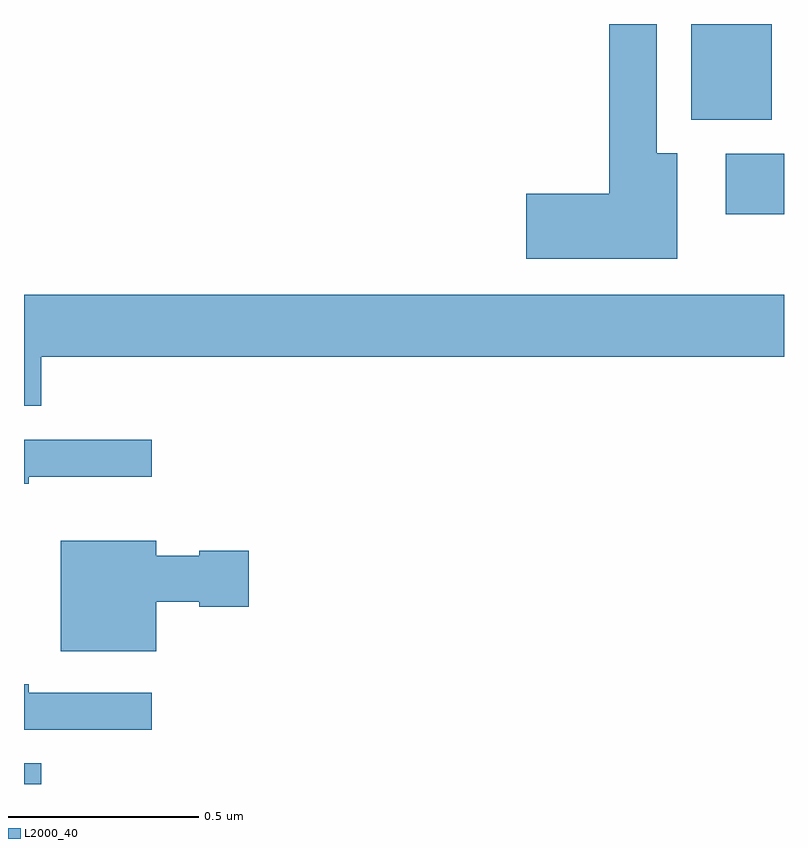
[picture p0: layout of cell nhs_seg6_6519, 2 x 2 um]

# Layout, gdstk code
import gdstk
lib = gdstk.Library(unit=1e-6, precision=1e-09)
def R(c, l, rs):  # rectangles x0, y0, x1, y1
    for r in rs: c.add(gdstk.rectangle(r[:2], r[2:], *l))
def P(c, l, *ps):  # polygons
    for p in ps: c.add(gdstk.Polygon(p, *l))
L2000_40 = (2000, 40)

nhs_seg6_6519 = lib.new_cell('nhs_seg6_6519')
R(nhs_seg6_6519, L2000_40, [(196,991.5,196.046,991.554), (197.847,993,198,993.159), (197.756,993.248,197.968,993.5)])
P(nhs_seg6_6519, L2000_40, [(197.719,993.16),(197.665,993.16),(197.665,993.5),(197.54,993.5),(197.54,993.053),(197.322,993.053),(197.322,992.882),(197.719,992.882)],
  [(196.045,992.624),(198,992.624),(198,992.788),(196,992.788),(196,992.496),(196.045,992.496)],
  [(196.012,992.309),(196.336,992.309),(196.336,992.406),(196,992.406),(196,992.29),(196.012,992.29)],
  [(196.348,991.979),(196.461,991.979),(196.461,991.967),(196.591,991.967),(196.591,992.114),(196.461,992.114),(196.461,992.101),(196.348,992.101),(196.348,992.14),(196.097,992.14),(196.097,991.85),(196.348,991.85)],
  [(196.336,991.74),(196.012,991.74),(196.012,991.763),(196,991.763),(196,991.643),(196.336,991.643)])

lib.write_gds('nhs_seg6_6519.gds')
